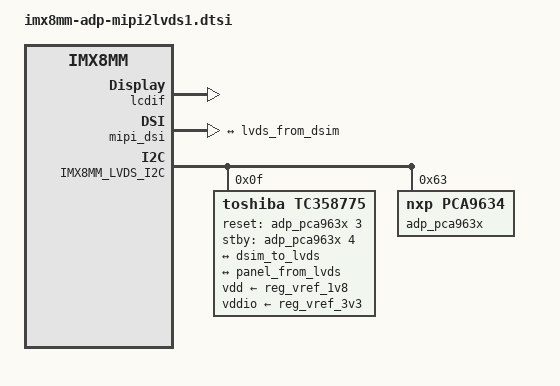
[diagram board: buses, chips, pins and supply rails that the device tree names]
/*
* Copyright (C) 2025 F&S Elektronik Systeme GmbH
*
* This program is free software; you can redistribute it and/or modify
* it under the terms of the GNU General Public License version 2 as
* published by the Free Software Foundation.
*/

&lcdif {
        status = "okay";
        /* important to overwrite max-res otherwise DRM lcdif will fail to
         * find a suitable connector
         */
        max-res = <4096>, <4096>;
};

&mipi_dsi {
        status = "okay";
        bus-fmt = <0x100a>;
        port@1 {
                reg = <1>;
                dsim_to_lvds: endpoint {
                        remote-endpoint = <&lvds_from_dsim>;
                        data-lanes = <0 1 2 3>;
                        attach-bridge;
                };
        };
};

&IMX8MM_LVDS_I2C {
        tc358775@f {
                compatible = "toshiba,tc358775";
                reg = <0x0f>;
                vdd-supply = <&reg_vref_1v8>;
                vddio-supply = <&reg_vref_3v3>;

                reset-gpios = <&adp_pca963x 3 GPIO_ACTIVE_HIGH>;
                stby-gpios  = <&adp_pca963x 4 GPIO_ACTIVE_HIGH>;

                ports {
                        #address-cells = <1>;
                        #size-cells = <0>;

                        port@0 {
                                reg = <0>;
 
                                lvds_from_dsim: endpoint {
                                        remote-endpoint = <&dsim_to_lvds>;
                                };
                        };

                        port@1 {
                                reg = <1>;

                                lvds_to_panel: endpoint {
                                        remote-endpoint = <&panel_from_lvds>;
                                };
                        };
                };
        };

	adp_pca963x: adp-pca9634@63 {
                        compatible = "nxp,pca9634";
                        reg = <0x63>;
						nxp,totem-pole;
                        #address-cells = <1>;
                        #size-cells = <0>;
                        #pwm-cells = <3>;
                        #gpio-cells = <2>;
                        led@0 {
                                reg = <0>;
                                label = "BL_ON";
                                type = "GPIO";
                                default-on;             /* or: keep-value */
                                active-high;
                        };
                        led@1 {
                                reg = <1>;
                                label = "BL_PWM";
                                type = "PWM";
                                default-on;             /* or: keep-value */
                                active-low;
                        };
                        led@2 {
                                reg = <2>;
                                label = "2-unused";
                                type = "LED";
                                active-low;
                        };
                        led@3 {
                                reg = <3>;
                                label = "MIPI_RST";
                                type = "GPIO";
                                active-low;
                                default-on;             /* or: keep-value */
                        };
                        led@4 {
                                reg = <4>;
                                label = "MIPI_STBY";
                                type = "GPIO";
                                active-low;
                                default-on;             /* or: keep-value */
                        };
                        led@5 {
                                reg = <5>;
                                label = "TOUCH_RST";
                                type = "GPIO";
                                active-high;
                                default-on;             /* or: keep-value */
                        };
                        led@6 {
                                reg = <6>;
                                label = "6-unused";
                                type = "LED";
                                active-low;
                        };
                        led@7 {
                                reg = <7>;
                                label = "7-unused";
                                type = "LED";
                                active-low;
                        };
                };
};
